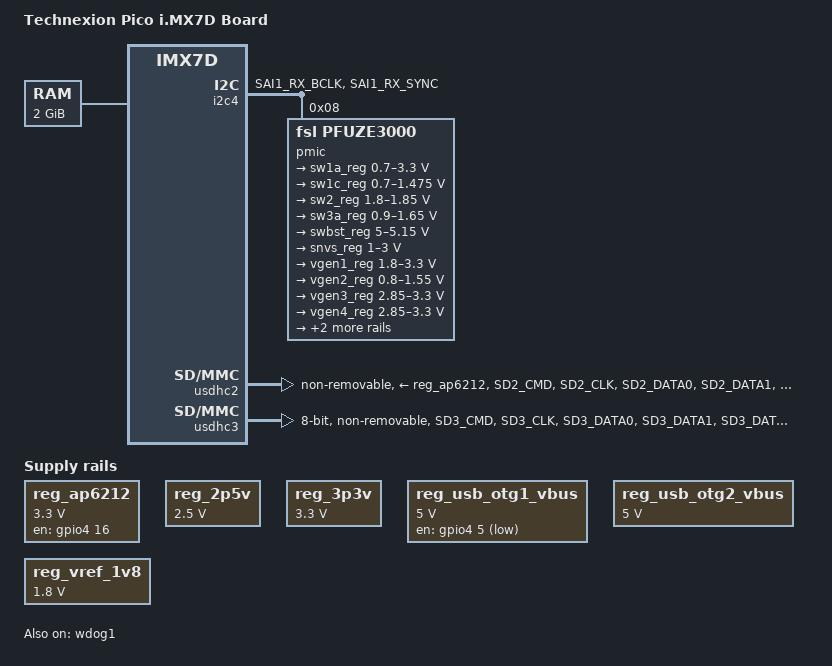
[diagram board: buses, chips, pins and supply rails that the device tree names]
/*
 * Copyright 2017 NXP
 *
 * This file is dual-licensed: you can use it either under the terms
 * of the GPL or the X11 license, at your option. Note that this dual
 * licensing only applies to this file, and not this project as a
 * whole.
 *
 *  a) This file is free software; you can redistribute it and/or
 *     modify it under the terms of the GNU General Public License as
 *     published by the Free Software Foundation; either version 2 of the
 *     License, or (at your option) any later version.
 *
 *     This file is distributed in the hope that it will be useful,
 *     but WITHOUT ANY WARRANTY; without even the implied warranty of
 *     MERCHANTABILITY or FITNESS FOR A PARTICULAR PURPOSE.  See the
 *     GNU General Public License for more details.
 *
 * Or, alternatively,
 *
 *  b) Permission is hereby granted, free of charge, to any person
 *     obtaining a copy of this software and associated documentation
 *     files (the "Software"), to deal in the Software without
 *     restriction, including without limitation the rights to use,
 *     copy, modify, merge, publish, distribute, sublicense, and/or
 *     sell copies of the Software, and to permit persons to whom the
 *     Software is furnished to do so, subject to the following
 *     conditions:
 *
 *     The above copyright notice and this permission notice shall be
 *     included in all copies or substantial portions of the Software.
 *
 *     THE SOFTWARE IS PROVIDED "AS IS", WITHOUT WARRANTY OF ANY KIND,
 *     EXPRESS OR IMPLIED, INCLUDING BUT NOT LIMITED TO THE WARRANTIES
 *     OF MERCHANTABILITY, FITNESS FOR A PARTICULAR PURPOSE AND
 *     NONINFRINGEMENT. IN NO EVENT SHALL THE AUTHORS OR COPYRIGHT
 *     HOLDERS BE LIABLE FOR ANY CLAIM, DAMAGES OR OTHER LIABILITY,
 *     WHETHER IN AN ACTION OF CONTRACT, TORT OR OTHERWISE, ARISING
 *     FROM, OUT OF OR IN CONNECTION WITH THE SOFTWARE OR THE USE OR
 *     OTHER DEALINGS IN THE SOFTWARE.
 */

/dts-v1/;

#include "imx7d.dtsi"

/ {
	model = "Technexion Pico i.MX7D Board";
	compatible = "technexion,imx7d-pico", "fsl,imx7d";

	memory@80000000 {
		reg = <0x80000000 0x80000000>;
	};

	reg_ap6212: regulator-ap6212 {
		compatible = "regulator-fixed";
		pinctrl-names = "default";
		pinctrl-0 = <&pinctrl_reg_ap6212>;
		regulator-name = "AP6212";
		regulator-min-microvolt = <3300000>;
		regulator-max-microvolt = <3300000>;
		gpio = <&gpio4 16 GPIO_ACTIVE_HIGH>;
		enable-active-high;
	};

	reg_2p5v: regulator-2p5v {
		compatible = "regulator-fixed";
		regulator-name = "2P5V";
		regulator-min-microvolt = <2500000>;
		regulator-max-microvolt = <2500000>;
		regulator-always-on;
	};

	reg_3p3v: regulator-3p3v {
		compatible = "regulator-fixed";
		regulator-name = "3P3V";
		regulator-min-microvolt = <3300000>;
		regulator-max-microvolt = <3300000>;
		regulator-always-on;
	};

	reg_usb_otg1_vbus: regulator-usb-otg1-vbus {
		compatible = "regulator-fixed";
		regulator-name = "usb_otg1_vbus";
		regulator-min-microvolt = <5000000>;
		regulator-max-microvolt = <5000000>;
		gpio = <&gpio4 5 GPIO_ACTIVE_LOW>;
	};

	reg_usb_otg2_vbus: regulator-usb-otg2-vbus {
		compatible = "regulator-fixed";
		regulator-name = "usb_otg2_vbus";
		regulator-min-microvolt = <5000000>;
		regulator-max-microvolt = <5000000>;
	};

	reg_vref_1v8: regulator-vref-1v8 {
		compatible = "regulator-fixed";
		regulator-name = "vref-1v8";
		regulator-min-microvolt = <1800000>;
		regulator-max-microvolt = <1800000>;
	};

	usdhc2_pwrseq: usdhc2_pwrseq {
		compatible = "mmc-pwrseq-simple";
		clocks = <&clks IMX7D_CLKO2_ROOT_DIV>;
		clock-names = "ext_clock";
	};
};

&clks {
	assigned-clocks = <&clks IMX7D_CLKO2_ROOT_SRC>,
			  <&clks IMX7D_CLKO2_ROOT_DIV>;
	assigned-clock-parents = <&clks IMX7D_CKIL>;
	assigned-clock-rates = <0>, <32768>;
};

&i2c4 {
	pinctrl-names = "default";
	pinctrl-0 = <&pinctrl_i2c4>;
	status = "okay";

	pmic: pfuze3000@8 {
		compatible = "fsl,pfuze3000";
		reg = <0x08>;

		regulators {
			sw1a_reg: sw1a {
				regulator-min-microvolt = <700000>;
				regulator-max-microvolt = <3300000>;
				regulator-boot-on;
				regulator-always-on;
				regulator-ramp-delay = <6250>;
			};
			/* use sw1c_reg to align with pfuze100/pfuze200 */
			sw1c_reg: sw1b {
				regulator-min-microvolt = <700000>;
				regulator-max-microvolt = <1475000>;
				regulator-boot-on;
				regulator-always-on;
				regulator-ramp-delay = <6250>;
			};

			sw2_reg: sw2 {
				regulator-min-microvolt = <1800000>;
				regulator-max-microvolt = <1850000>;
				regulator-boot-on;
				regulator-always-on;
			};

			sw3a_reg: sw3 {
				regulator-min-microvolt = <900000>;
				regulator-max-microvolt = <1650000>;
				regulator-boot-on;
				regulator-always-on;
			};

			swbst_reg: swbst {
				regulator-min-microvolt = <5000000>;
				regulator-max-microvolt = <5150000>;
			};

			snvs_reg: vsnvs {
				regulator-min-microvolt = <1000000>;
				regulator-max-microvolt = <3000000>;
				regulator-boot-on;
				regulator-always-on;
			};

			vref_reg: vrefddr {
				regulator-boot-on;
				regulator-always-on;
			};

			vgen1_reg: vldo1 {
				regulator-min-microvolt = <1800000>;
				regulator-max-microvolt = <3300000>;
				regulator-always-on;
			};

			vgen2_reg: vldo2 {
				regulator-min-microvolt = <800000>;
				regulator-max-microvolt = <1550000>;
			};

			vgen3_reg: vccsd {
				regulator-min-microvolt = <2850000>;
				regulator-max-microvolt = <3300000>;
				regulator-always-on;
			};

			vgen4_reg: v33 {
				regulator-min-microvolt = <2850000>;
				regulator-max-microvolt = <3300000>;
				regulator-always-on;
			};

			vgen5_reg: vldo3 {
				regulator-min-microvolt = <1800000>;
				regulator-max-microvolt = <3300000>;
				regulator-always-on;
			};

			vgen6_reg: vldo4 {
				regulator-min-microvolt = <1800000>;
				regulator-max-microvolt = <3300000>;
				regulator-always-on;
			};
		};
	};
};

&usdhc2 { /* Wifi SDIO */
	pinctrl-names = "default";
	pinctrl-0 = <&pinctrl_usdhc2 &pinctrl_wifi_clk>;
	no-1-8-v;
	non-removable;
	keep-power-in-suspend;
	wakeup-source;
	vmmc-supply = <&reg_ap6212>;
	mmc-pwrseq = <&usdhc2_pwrseq>;
	status = "okay";
};

&usdhc3 {
	pinctrl-names = "default", "state_100mhz", "state_200mhz";
	pinctrl-0 = <&pinctrl_usdhc3>;
	pinctrl-1 = <&pinctrl_usdhc3_100mhz>;
	pinctrl-2 = <&pinctrl_usdhc3_200mhz>;
	assigned-clocks = <&clks IMX7D_USDHC3_ROOT_CLK>;
	assigned-clock-rates = <400000000>;
	bus-width = <8>;
	no-1-8-v;
	fsl,tuning-step = <2>;
	non-removable;
	status = "okay";
};

&wdog1 {
	pinctrl-names = "default";
	pinctrl-0 = <&pinctrl_wdog>;
	fsl,ext-reset-output;
	status = "okay";
};

&iomuxc {
	pinctrl_i2c4: i2c4grp {
		fsl,pins = <
			MX7D_PAD_SAI1_RX_BCLK__I2C4_SDA		0x4000007f
			MX7D_PAD_SAI1_RX_SYNC__I2C4_SCL		0x4000007f
		>;
	};

	pinctrl_reg_ap6212: regap6212grp {
		fsl,pins = <
			MX7D_PAD_ECSPI1_SCLK__GPIO4_IO16	0x59
		>;
	};

	pinctrl_usdhc2: usdhc2grp {
		fsl,pins = <
			MX7D_PAD_SD2_CMD__SD2_CMD		0x59
			MX7D_PAD_SD2_CLK__SD2_CLK		0x19
			MX7D_PAD_SD2_DATA0__SD2_DATA0		0x59
			MX7D_PAD_SD2_DATA1__SD2_DATA1		0x59
			MX7D_PAD_SD2_DATA2__SD2_DATA2		0x59
			MX7D_PAD_SD2_DATA3__SD2_DATA3		0x59
		>;
	};

	pinctrl_usdhc3: usdhc3grp {
		fsl,pins = <
			MX7D_PAD_SD3_CMD__SD3_CMD		0x59
			MX7D_PAD_SD3_CLK__SD3_CLK		0x19
			MX7D_PAD_SD3_DATA0__SD3_DATA0		0x59
			MX7D_PAD_SD3_DATA1__SD3_DATA1		0x59
			MX7D_PAD_SD3_DATA2__SD3_DATA2		0x59
			MX7D_PAD_SD3_DATA3__SD3_DATA3		0x59
			MX7D_PAD_SD3_DATA4__SD3_DATA4		0x59
			MX7D_PAD_SD3_DATA5__SD3_DATA5		0x59
			MX7D_PAD_SD3_DATA6__SD3_DATA6		0x59
			MX7D_PAD_SD3_DATA7__SD3_DATA7		0x59
		>;
	};

	pinctrl_usdhc3_100mhz: usdhc3grp_100mhz {
		fsl,pins = <
			MX7D_PAD_SD3_CMD__SD3_CMD		0x5a
			MX7D_PAD_SD3_CLK__SD3_CLK		0x1a
			MX7D_PAD_SD3_DATA0__SD3_DATA0		0x5a
			MX7D_PAD_SD3_DATA1__SD3_DATA1		0x5a
			MX7D_PAD_SD3_DATA2__SD3_DATA2		0x5a
			MX7D_PAD_SD3_DATA3__SD3_DATA3		0x5a
			MX7D_PAD_SD3_DATA4__SD3_DATA4		0x5a
			MX7D_PAD_SD3_DATA5__SD3_DATA5		0x5a
			MX7D_PAD_SD3_DATA6__SD3_DATA6		0x5a
			MX7D_PAD_SD3_DATA7__SD3_DATA7		0x5a
		>;
	};

	pinctrl_usdhc3_200mhz: usdhc3grp_200mhz {
		fsl,pins = <
			MX7D_PAD_SD3_CMD__SD3_CMD		0x5b
			MX7D_PAD_SD3_CLK__SD3_CLK		0x1b
			MX7D_PAD_SD3_DATA0__SD3_DATA0		0x5b
			MX7D_PAD_SD3_DATA1__SD3_DATA1		0x5b
			MX7D_PAD_SD3_DATA2__SD3_DATA2		0x5b
			MX7D_PAD_SD3_DATA3__SD3_DATA3		0x5b
			MX7D_PAD_SD3_DATA4__SD3_DATA4		0x5b
			MX7D_PAD_SD3_DATA5__SD3_DATA5		0x5b
			MX7D_PAD_SD3_DATA6__SD3_DATA6		0x5b
			MX7D_PAD_SD3_DATA7__SD3_DATA7		0x5b
		>;
	};
};

&iomuxc_lpsr {
	pinctrl_wifi_clk: wificlkgrp {
		fsl,pins = <
			MX7D_PAD_LPSR_GPIO1_IO03__CCM_CLKO2	0x7d
		>;
	};

	pinctrl_wdog: wdoggrp {
		fsl,pins = <
			MX7D_PAD_LPSR_GPIO1_IO00__WDOG1_WDOG_B	0x74
		>;
	};
};
